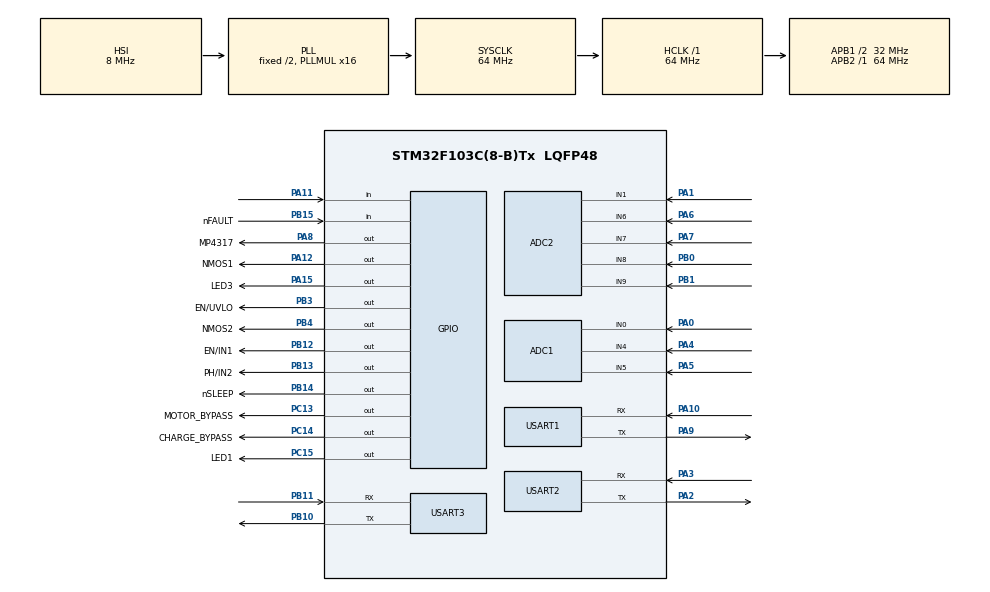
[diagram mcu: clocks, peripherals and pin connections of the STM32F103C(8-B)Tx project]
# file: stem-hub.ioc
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ADC1.Channel-0\#ChannelRegularConversion=ADC_CHANNEL_4
ADC1.NbrOfConversionFlag=1
ADC1.Rank-0\#ChannelRegularConversion=1
ADC1.SamplingTime-0\#ChannelRegularConversion=ADC_SAMPLETIME_1CYCLE_5
ADC1.master=1
ADC2.Channel-0\#ChannelRegularConversion=ADC_CHANNEL_6
ADC2.NbrOfConversionFlag=1
ADC2.Rank-0\#ChannelRegularConversion=1
ADC2.SamplingTime-0\#ChannelRegularConversion=ADC_SAMPLETIME_1CYCLE_5
FREERTOS.Tasks01=defaultTask,24,128,StartDefaultTask,Default,NULL,Dynamic,NULL,NULL
Mcu.Family=STM32F1
Mcu.Name=STM32F103C(8-B)Tx
Mcu.Package=LQFP48
NVIC.PriorityGroup=NVIC_PRIORITYGROUP_4
NVIC.TIM1_UP_IRQn=true\:15\:0\:false\:false\:true\:false\:false\:true\:true
NVIC.TimeBase=TIM1_UP_IRQn
NVIC.TimeBaseIP=TIM1
PA0.Signal=ADCx_IN0
PA1.Signal=ADCx_IN1
PA10.Mode=Asynchronous
PA10.Signal=USART1_RX
PA11.Signal=GPIO_Input
PA12.GPIO_Label=NMOS1
PA12.Signal=GPIO_Output
PA13.Mode=Serial_Wire
PA13.Signal=SYS_JTMS-SWDIO
PA14.Mode=Serial_Wire
PA14.Signal=SYS_JTCK-SWCLK
PA15.GPIO_Label=LED3
PA15.Signal=GPIO_Output
PA2.Mode=Asynchronous
PA2.Signal=USART2_TX
PA3.Mode=Asynchronous
PA3.Signal=USART2_RX
PA4.Signal=ADCx_IN4
PA5.Signal=ADCx_IN5
PA6.Signal=ADCx_IN6
PA7.Signal=ADCx_IN7
PA8.GPIO_Label=MP4317
PA8.Signal=GPIO_Output
PA9.Mode=Asynchronous
PA9.Signal=USART1_TX
PB0.Signal=ADCx_IN8
PB1.Signal=ADCx_IN9
PB10.Mode=Asynchronous
PB10.Signal=USART3_TX
PB11.Mode=Asynchronous
PB11.Signal=USART3_RX
PB12.GPIO_Label=EN/IN1
PB12.Signal=GPIO_Output
PB13.GPIO_Label=PH/IN2
PB13.Signal=GPIO_Output
PB14.GPIO_Label=nSLEEP
PB14.Signal=GPIO_Output
PB15.GPIO_Label=nFAULT
PB15.Signal=GPIO_Input
PB3.GPIO_Label=EN/UVLO
PB3.Signal=GPIO_Output
PB4.GPIO_Label=NMOS2
PB4.Signal=GPIO_Output
PC13-TAMPER-RTC.GPIO_Label=MOTOR_BYPASS
PC13-TAMPER-RTC.Signal=GPIO_Output
PC14-OSC32_IN.GPIO_Label=CHARGE_BYPASS
PC14-OSC32_IN.Signal=GPIO_Output
PC15-OSC32_OUT.GPIO_Label=LED1
PC15-OSC32_OUT.Signal=GPIO_Output
PD0-OSC_IN.Mode=HSE-External-Oscillator
PD0-OSC_IN.Signal=RCC_OSC_IN
PD1-OSC_OUT.Mode=HSE-External-Oscillator
PD1-OSC_OUT.Signal=RCC_OSC_OUT
ProjectManager.HeapSize=0x200
ProjectManager.StackSize=0x400
ProjectManager.TargetToolchain=CMake
RCC.ADCPresc=RCC_ADCPCLK2_DIV8
RCC.AHBFreq_Value=64000000
RCC.APB1CLKDivider=RCC_HCLK_DIV2
RCC.APB1Freq_Value=32000000
RCC.APB1TimFreq_Value=64000000
RCC.APB2Freq_Value=64000000
RCC.APB2TimFreq_Value=64000000
RCC.HCLKFreq_Value=64000000
RCC.PLLMUL=RCC_PLL_MUL16
RCC.SYSCLKFreq_VALUE=64000000
RCC.SYSCLKSource=RCC_SYSCLKSOURCE_PLLCLK
RCC.USBFreq_Value=64000000
SH.ADCx_IN4.0=ADC1_IN4,IN4
SH.ADCx_IN5.0=ADC1_IN5,IN5
SH.ADCx_IN6.0=ADC2_IN6,IN6
SH.ADCx_IN7.0=ADC2_IN7,IN7
SH.ADCx_IN8.0=ADC2_IN8,IN8
SH.ADCx_IN9.0=ADC2_IN9,IN9
SH.ADCx_IN0.0=ADC1_IN0,IN0
SH.ADCx_IN1.0=ADC2_IN1,IN1
USART1.VirtualMode=VM_ASYNC
USART2.VirtualMode=VM_ASYNC
USART3.VirtualMode=VM_ASYNC
VP_FREERTOS_VS_CMSIS_V2.Mode=CMSIS_V2
VP_SYS_VS_tim1.Mode=TIM1
board=custom

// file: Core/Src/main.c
/* USER CODE BEGIN Header */
/**
  ******************************************************************************
  * @file           : main.c
  * @brief          : Main program body
  ******************************************************************************
  * @attention
  *
  * Copyright (c) 2026 STMicroelectronics.
  * All rights reserved.
  *
  * This software is licensed under terms that can be found in the LICENSE file
  * in the root directory of this software component.
  * If no LICENSE file comes with this software, it is provided AS-IS.
  *
  ******************************************************************************
  */
/* USER CODE END Header */
#include "main.h"
#include "cmsis_os.h"
#include "adc.h"
#include "usart.h"
#include "gpio.h"

/* USER CODE BEGIN Includes */
#include "app_core.h"

/* USER CODE END Includes */

void SystemClock_Config(void);
void MX_FREERTOS_Init(void);

/* USER CODE BEGIN 0 */

#include <stdint.h>
#include "usart.h"
#include "stm32f1xx_hal.h"

/* 故障现场记录 + 最后机会 UART 输出。
 *
 * 在 HardFault/MemManage/BusFault/UsageFault 入口以及 Error_Handler /
 * RTOS 对象创建失败等"固件即将进入 while(1) 死循环"的关键点被调用。
 * 不依赖任何 RTOS/HAL callback，不读任何 task 栈——只读全局 huart1 句柄
 * 与 Cortex-M3 系统控制块寄存器，并直接轮询 USART1->SR/DR 寄存器，
 * 在 __disable_irq 之前把一行 ASCII 短帧写到 UART1 物理线上。
 *
 * 字段（g_fail_record[8]）：
 *   [0] = magic (0xFA115E11)
 *   [1] = huart1.gState (触发时刻)
 *   [2] = huart1.ErrorCode
 *   [3] = SCB->CFSR (Configurable Fault Status)
 *   [4] = SCB->HFSR (HardFault Status)
 *   [5] = LR（链接寄存器，反映调用现场）
 *   [6] = hint（来自调用者的来源估计，0 = 未知）
 *   [7] = magic XOR（用于校验）
 *
 * UART1 输出格式：`+FAIL:H=<hint32> <gState32> <errCode32> <CFSR32>
 *                  <HFSR32> <LR32>\r\n`
 *
 * 已知关联：本仓库"AT 命令后跑飞"复现中 CFSR=0x00020000 (MLSPERR) +
 * HFSR=0x40000000 (FORCED)，即 atTask 栈溢出导致 MemManage 升级为
 * HardFault。修复见 commit `feat(rtos): expand atTask stack and heap
 * (plan B)` 与 docs/at-rx-stall-debug-report.md §6。 */
static volatile uint32_t g_fail_record[8] = {0};

void App_RecordFailureAndPrint(uint32_t hint, uint32_t lr_value)
{
    if (g_fail_record[0] == 0xFA115E11U)
    {
        /* 已经被记录过，避免重复覆盖现场。 */
        return;
    }

    g_fail_record[0] = 0xFA115E11U;
    g_fail_record[1] = (uint32_t)huart1.gState;
    g_fail_record[2] = (uint32_t)huart1.ErrorCode;
    g_fail_record[3] = (uint32_t)SCB->CFSR;
    g_fail_record[4] = (uint32_t)SCB->HFSR;
    g_fail_record[5] = lr_value;
    g_fail_record[6] = hint;
    g_fail_record[7] = 0xFA115E11U ^ g_fail_record[1] ^ g_fail_record[2] ^
                       g_fail_record[3] ^ g_fail_record[4] ^ g_fail_record[5] ^
                       g_fail_record[6];

    /* 在 __disable_irq 之前用 polling 输出一段 ASCII 短帧；这样即使
     * 接下来进入 while(1)，PC 端也能在串口监视器里读到这次失败原因。 */
    const char *prefix = "+FAIL:H=";
    for (const char *p = prefix; *p != '\0'; ++p)
    {
        while ((USART1->SR & USART_SR_TXE) == 0U)
        {
        }
        USART1->DR = (uint16_t)(*p & 0x01FFU);
    }

    static const char hex[] = "0123456789ABCDEF";
    uint32_t values[6] = {
        hint,
        g_fail_record[1],
        g_fail_record[2],
        g_fail_record[3],
        g_fail_record[4],
        g_fail_record[5]
    };
    for (uint32_t i = 0U; i < 6U; ++i)
    {
        for (int32_t s = 28; s >= 0; s -= 4)
        {
            uint8_t nibble = (uint8_t)((values[i] >> (uint32_t)s) & 0x0FU);
            while ((USART1->SR & USART_SR_TXE) == 0U)
            {
            }
            USART1->DR = (uint16_t)(hex[nibble] & 0x01FFU);
        }
        if (i + 1U < 6U)
        {
            while ((USART1->SR & USART_SR_TXE) == 0U)
            {
            }
            USART1->DR = (uint16_t)(' ' & 0x01FFU);
        }
    }

    while ((USART1->SR & USART_SR_TXE) == 0U)
    {
    }
    USART1->DR = (uint16_t)('\r' & 0x01FFU);
    while ((USART1->SR & USART_SR_TXE) == 0U)
    {
    }
    USART1->DR = (uint16_t)('\n' & 0x01FFU);
}

static void App_PreInitMotorSafeState(void)
{
  GPIO_InitTypeDef safe_gpio = {0};

  __HAL_RCC_GPIOB_CLK_ENABLE();
  HAL_GPIO_WritePin(GPIOB, nSLEEP_Pin|EN_IN1_Pin|PH_IN2_Pin, GPIO_PIN_RESET);

  safe_gpio.Pin = nSLEEP_Pin|EN_IN1_Pin|PH_IN2_Pin;
  safe_gpio.Mode = GPIO_MODE_OUTPUT_PP;
  safe_gpio.Pull = GPIO_NOPULL;
  safe_gpio.Speed = GPIO_SPEED_FREQ_LOW;
  HAL_GPIO_Init(GPIOB, &safe_gpio);
  HAL_GPIO_WritePin(GPIOB, nSLEEP_Pin|EN_IN1_Pin|PH_IN2_Pin, GPIO_PIN_RESET);
}

/* USER CODE END 0 */

int main(void)
{

  /* USER CODE BEGIN 1 */

  App_PreInitMotorSafeState();

  /* USER CODE END 1 */

  /* MCU Configuration--------------------------------------------------------*/

  /* Reset of all peripherals, Initializes the Flash interface and the Systick. */
  HAL_Init();

  /* Configure the system clock */
  SystemClock_Config();

  /* Initialize all configured peripherals */
  MX_GPIO_Init();

  MX_USART1_UART_Init();
  MX_ADC1_Init();
  MX_ADC2_Init();
  MX_USART2_UART_Init();
  MX_USART3_UART_Init();

  /* Init scheduler */
  osKernelInitialize();  /* Call init function for freertos objects (in cmsis_os2.c) */
  MX_FREERTOS_Init();

  /* Start scheduler */
  osKernelStart();

  /* We should never get here as control is now taken by the scheduler */

  /* Infinite loop */
  while (1)
  {

  }
}

void SystemClock_Config(void)
{
  RCC_OscInitTypeDef RCC_OscInitStruct = {0};
  RCC_ClkInitTypeDef RCC_ClkInitStruct = {0};
  RCC_PeriphCLKInitTypeDef PeriphClkInit = {0};

  /** Initializes the RCC Oscillators according to the specified parameters
  * in the RCC_OscInitTypeDef structure.
  */
  RCC_OscInitStruct.OscillatorType = RCC_OSCILLATORTYPE_HSI;
  RCC_OscInitStruct.HSIState = RCC_HSI_ON;
  RCC_OscInitStruct.HSICalibrationValue = RCC_HSICALIBRATION_DEFAULT;
  RCC_OscInitStruct.PLL.PLLState = RCC_PLL_ON;
  RCC_OscInitStruct.PLL.PLLSource = RCC_PLLSOURCE_HSI_DIV2;
  RCC_OscInitStruct.PLL.PLLMUL = RCC_PLL_MUL16;
  if (HAL_RCC_OscConfig(&RCC_OscInitStruct) != HAL_OK)
  {
    Error_Handler();
  }

  /** Initializes the CPU, AHB and APB buses clocks
  */
  RCC_ClkInitStruct.ClockType = RCC_CLOCKTYPE_HCLK|RCC_CLOCKTYPE_SYSCLK
                              |RCC_CLOCKTYPE_PCLK1|RCC_CLOCKTYPE_PCLK2;
  RCC_ClkInitStruct.SYSCLKSource = RCC_SYSCLKSOURCE_PLLCLK;
  RCC_ClkInitStruct.AHBCLKDivider = RCC_SYSCLK_DIV1;
  RCC_ClkInitStruct.APB1CLKDivider = RCC_HCLK_DIV2;
  RCC_ClkInitStruct.APB2CLKDivider = RCC_HCLK_DIV1;

  if (HAL_RCC_ClockConfig(&RCC_ClkInitStruct, FLASH_LATENCY_2) != HAL_OK)
  {
    Error_Handler();
  }
  PeriphClkInit.PeriphClockSelection = RCC_PERIPHCLK_ADC;
  PeriphClkInit.AdcClockSelection = RCC_ADCPCLK2_DIV8;
  if (HAL_RCCEx_PeriphCLKConfig(&PeriphClkInit) != HAL_OK)
  {
    Error_Handler();
  }
}

void HAL_TIM_PeriodElapsedCallback(TIM_HandleTypeDef *htim)
{
  if (htim->Instance == TIM1)
  {
    HAL_IncTick();
  }
}

void Error_Handler(void)
{
  /* USER CODE BEGIN Error_Handler_Debug */
  /* User can add his own implementation to report the HAL error return state */
  App_RecordFailureAndPrint(0xE11E0001U, (uint32_t)__builtin_return_address(0));
  __disable_irq();
  while (1)
  {
  }
  /* USER CODE END Error_Handler_Debug */
}

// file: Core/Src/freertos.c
/* USER CODE BEGIN Header */
/**
  ******************************************************************************
  * File Name          : freertos.c
  * Description        : Code for freertos applications
  ******************************************************************************
  * @attention
  *
  * Copyright (c) 2026 STMicroelectronics.
  * All rights reserved.
  *
  * This software is licensed under terms that can be found in the LICENSE file
  * in the root directory of this software component.
  * If no LICENSE file comes with this software, it is provided AS-IS.
  *
  ******************************************************************************
  */
/* USER CODE END Header */

#include "FreeRTOS.h"
#include "task.h"
#include "main.h"
#include "cmsis_os.h"

/* USER CODE BEGIN Includes */
#include "app_core.h"

/* USER CODE END Includes */

/* Definitions for defaultTask */
osThreadId_t defaultTaskHandle;
const osThreadAttr_t defaultTask_attributes = {
  .name = "defaultTask",
  .stack_size = 128 * 4,
  .priority = (osPriority_t) osPriorityNormal,
};
/* Definitions for atTask
 *
 * 栈 2048 B（512 * 4）：原 1024 B 时 atTask 在 App_AtReplySense（320 B
 * 局部）+ 透传路径（osMutex + 两次同步 HAL_UART_Transmit）会撞顶，
 * 触发 Cortex-M3 MLSPERR → HardFault，导致"AT 命令后跑飞"。
 * 详见 docs/at-rx-stall-debug-report.md §6。 */
osThreadId_t atTaskHandle;
const osThreadAttr_t atTask_attributes = {
  .name = "atTask",
  .stack_size = 512 * 4,
  .priority = (osPriority_t) osPriorityAboveNormal,
};
/* Definitions for sensorTask */
osThreadId_t sensorTaskHandle;
const osThreadAttr_t sensorTask_attributes = {
  .name = "sensorTask",
  .stack_size = 256 * 4,
  .priority = (osPriority_t) osPriorityNormal,
};
/* Definitions for motorTask */
osThreadId_t motorTaskHandle;
const osThreadAttr_t motorTask_attributes = {
  .name = "motorTask",
  .stack_size = 256 * 4,
  .priority = (osPriority_t) osPriorityAboveNormal,
};
/* Definitions for ledTask */
osThreadId_t ledTaskHandle;
const osThreadAttr_t ledTask_attributes = {
  .name = "ledTask",
  .stack_size = 128 * 4,
  .priority = (osPriority_t) osPriorityLow,
};
/* Definitions for nmosTask */
osThreadId_t nmosTaskHandle;
const osThreadAttr_t nmosTask_attributes = {
  .name = "nmosTask",
  .stack_size = 128 * 4,
  .priority = (osPriority_t) osPriorityBelowNormal,
};
/* Definitions for bridgeTask */
osThreadId_t bridgeTaskHandle;
const osThreadAttr_t bridgeTask_attributes = {
  .name = "bridgeTask",
  .stack_size = 256 * 4,
  .priority = (osPriority_t) osPriorityNormal,
};

/* USER CODE BEGIN FunctionPrototypes */

static void App_FailFastIfThreadCreateFailed(osThreadId_t thread_handle);

/* USER CODE END FunctionPrototypes */

void StartDefaultTask(void *argument);

void MX_FREERTOS_Init(void); /* (MISRA C 2004 rule 8.1) */

static void App_FailFastIfThreadCreateFailed(osThreadId_t thread_handle)
{
  if (thread_handle == NULL)
  {
    Error_Handler();
  }
}

void MX_FREERTOS_Init(void) {

  /* USER CODE BEGIN RTOS_SEMAPHORES */
  /* add semaphores, ... */
  App_CoreCreateObjects();
  App_CoreInit();
  /* USER CODE END RTOS_SEMAPHORES */

  /* Create the thread(s) */
  /* creation of defaultTask */
  defaultTaskHandle = osThreadNew(StartDefaultTask, NULL, &defaultTask_attributes);
  App_FailFastIfThreadCreateFailed(defaultTaskHandle);

  /* USER CODE BEGIN RTOS_THREADS */
  /* add threads, ... */
  atTaskHandle = osThreadNew(App_AtTask, NULL, &atTask_attributes);
  App_FailFastIfThreadCreateFailed(atTaskHandle);
  sensorTaskHandle = osThreadNew(App_SensorTask, NULL, &sensorTask_attributes);
  App_FailFastIfThreadCreateFailed(sensorTaskHandle);
  motorTaskHandle = osThreadNew(App_MotorTask, NULL, &motorTask_attributes);
  App_FailFastIfThreadCreateFailed(motorTaskHandle);
  ledTaskHandle = osThreadNew(App_LedTask, NULL, &ledTask_attributes);
  App_FailFastIfThreadCreateFailed(ledTaskHandle);
  nmosTaskHandle = osThreadNew(App_NmosTask, NULL, &nmosTask_attributes);
  App_FailFastIfThreadCreateFailed(nmosTaskHandle);
  bridgeTaskHandle = osThreadNew(App_BridgeTask, NULL, &bridgeTask_attributes);
  App_FailFastIfThreadCreateFailed(bridgeTaskHandle);
  /* USER CODE END RTOS_THREADS */

}

void StartDefaultTask(void *argument)
{
  for(;;)
  {
    osDelay(1);
  }
}
